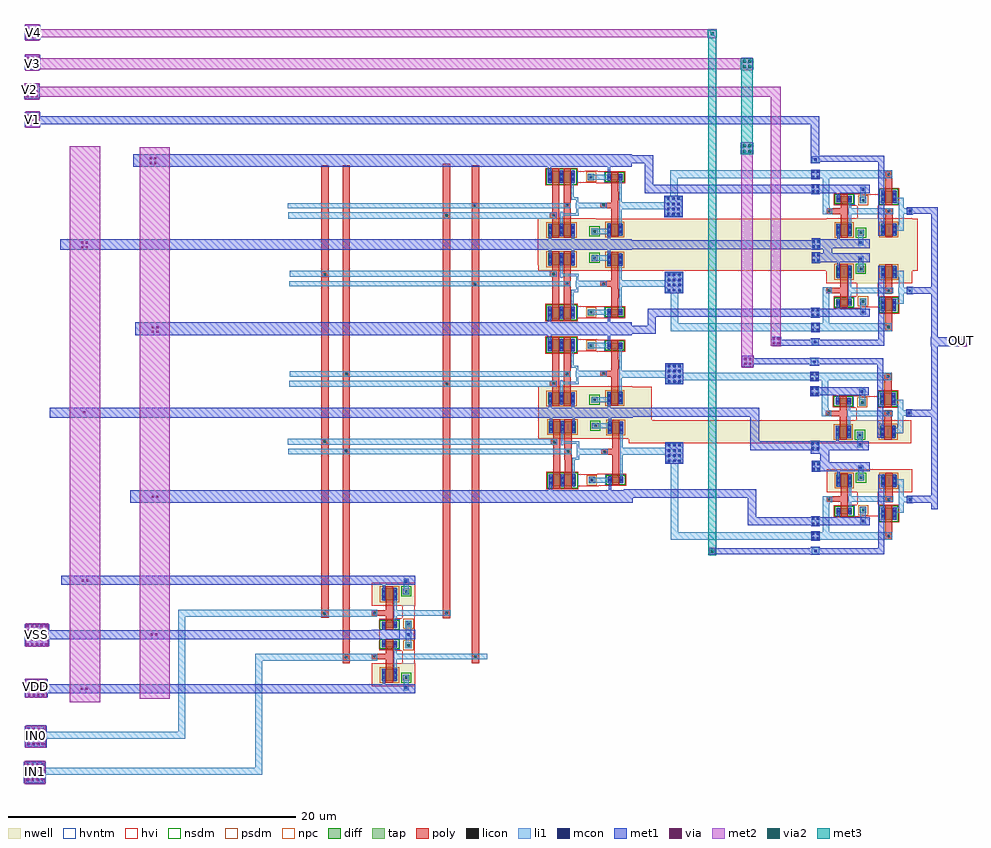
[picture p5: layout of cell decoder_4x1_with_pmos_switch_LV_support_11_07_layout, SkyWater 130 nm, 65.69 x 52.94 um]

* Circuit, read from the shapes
.subckt decoder_4x1_with_pmos_switch_LV_support_11_07_layout IN0 IN1 OUT V1 V2 V3 V4 VDD VSS
XM1 decoder_D1_g5d10_10_07_0/IN1_inv IN1 VSS VSS sky130_fd_pr__nfet_g5v0d10v5 w=0.42 l=0.5
XM2 decoder_D1_g5d10_10_07_0/IN0_inv IN0 VSS VSS sky130_fd_pr__nfet_g5v0d10v5 w=0.42 l=0.5
XM3 n1 decoder_D1_g5d10_10_07_0/IN0_inv VSS VSS sky130_fd_pr__nfet_g5v0d10v5 w=0.84 l=0.5
XM4 n2 IN0 VSS VSS sky130_fd_pr__nfet_g5v0d10v5 w=0.84 l=0.5
XM5 n3 decoder_D1_g5d10_10_07_0/IN0_inv VSS VSS sky130_fd_pr__nfet_g5v0d10v5 w=0.84 l=0.5
XM6 n4 IN0 VSS VSS sky130_fd_pr__nfet_g5v0d10v5 w=0.84 l=0.5
XM7 n5 IN1 n1 VSS sky130_fd_pr__nfet_g5v0d10v5 w=0.84 l=0.5
XM8 n6 decoder_D1_g5d10_10_07_0/IN1_inv n2 VSS sky130_fd_pr__nfet_g5v0d10v5 w=0.84 l=0.5
XM9 n7 decoder_D1_g5d10_10_07_0/IN1_inv n3 VSS sky130_fd_pr__nfet_g5v0d10v5 w=0.84 l=0.5
XM10 n8 IN1 n4 VSS sky130_fd_pr__nfet_g5v0d10v5 w=0.84 l=0.5
XM11 decoder_D1_g5d10_10_07_0/OUT2 n5 VSS VSS sky130_fd_pr__nfet_g5v0d10v5 w=0.42 l=0.5
XM12 decoder_D1_g5d10_10_07_0/OUT1 n6 VSS VSS sky130_fd_pr__nfet_g5v0d10v5 w=0.42 l=0.5
XM13 decoder_D1_g5d10_10_07_0/OUT0 n7 VSS VSS sky130_fd_pr__nfet_g5v0d10v5 w=0.42 l=0.5
XM14 decoder_D1_g5d10_10_07_0/OUT3 n8 VSS VSS sky130_fd_pr__nfet_g5v0d10v5 w=0.42 l=0.5
XM15 V_SEL_g5D10_W0p840_L0p5_11_7_layout_2/inv_D1_W0p840_L0p5_10_7_2/OUT decoder_D1_g5d10_10_07_0/OUT2 VSS VSS sky130_fd_pr__nfet_g5v0d10v5 w=0.42 l=0.5
XM16 V_SEL_g5D10_W0p840_L0p5_11_7_layout_3/inv_D1_W0p840_L0p5_10_7_2/OUT decoder_D1_g5d10_10_07_0/OUT1 VSS VSS sky130_fd_pr__nfet_g5v0d10v5 w=0.42 l=0.5
XM17 V_SEL_g5D10_W0p840_L0p5_11_7_layout_1/inv_D1_W0p840_L0p5_10_7_2/OUT decoder_D1_g5d10_10_07_0/OUT3 VSS VSS sky130_fd_pr__nfet_g5v0d10v5 w=0.42 l=0.5
XM18 V_SEL_g5D10_W0p840_L0p5_11_7_layout_4/inv_D1_W0p840_L0p5_10_7_2/OUT decoder_D1_g5d10_10_07_0/OUT0 VSS VSS sky130_fd_pr__nfet_g5v0d10v5 w=0.42 l=0.5
XM19 OUT decoder_D1_g5d10_10_07_0/OUT2 V3 VSS sky130_fd_pr__nfet_g5v0d10v5 w=0.84 l=0.5
XM20 OUT decoder_D1_g5d10_10_07_0/OUT1 V2 VSS sky130_fd_pr__nfet_g5v0d10v5 w=0.84 l=0.5
XM21 OUT decoder_D1_g5d10_10_07_0/OUT3 V4 VSS sky130_fd_pr__nfet_g5v0d10v5 w=0.84 l=0.5
XM22 OUT decoder_D1_g5d10_10_07_0/OUT0 V1 VSS sky130_fd_pr__nfet_g5v0d10v5 w=0.84 l=0.5
XM23 decoder_D1_g5d10_10_07_0/IN1_inv IN1 VDD VDD sky130_fd_pr__pfet_g5v0d10v5 w=0.84 l=0.5
XM24 decoder_D1_g5d10_10_07_0/IN0_inv IN0 VDD VDD sky130_fd_pr__pfet_g5v0d10v5 w=0.84 l=0.5
XM25 n5 decoder_D1_g5d10_10_07_0/IN0_inv VDD VDD sky130_fd_pr__pfet_g5v0d10v5 w=0.84 l=0.5
XM26 n6 IN0 VDD VDD sky130_fd_pr__pfet_g5v0d10v5 w=0.84 l=0.5
XM27 n7 decoder_D1_g5d10_10_07_0/IN0_inv VDD VDD sky130_fd_pr__pfet_g5v0d10v5 w=0.84 l=0.5
XM28 n8 IN0 VDD VDD sky130_fd_pr__pfet_g5v0d10v5 w=0.84 l=0.5
XM29 VDD IN1 n5 VDD sky130_fd_pr__pfet_g5v0d10v5 w=0.84 l=0.5
XM30 VDD decoder_D1_g5d10_10_07_0/IN1_inv n6 VDD sky130_fd_pr__pfet_g5v0d10v5 w=0.84 l=0.5
XM31 VDD decoder_D1_g5d10_10_07_0/IN1_inv n7 VDD sky130_fd_pr__pfet_g5v0d10v5 w=0.84 l=0.5
XM32 VDD IN1 n8 VDD sky130_fd_pr__pfet_g5v0d10v5 w=0.84 l=0.5
XM33 decoder_D1_g5d10_10_07_0/OUT2 n5 VDD VDD sky130_fd_pr__pfet_g5v0d10v5 w=0.84 l=0.5
XM34 decoder_D1_g5d10_10_07_0/OUT1 n6 VDD VDD sky130_fd_pr__pfet_g5v0d10v5 w=0.84 l=0.5
XM35 decoder_D1_g5d10_10_07_0/OUT0 n7 VDD VDD sky130_fd_pr__pfet_g5v0d10v5 w=0.84 l=0.5
XM36 decoder_D1_g5d10_10_07_0/OUT3 n8 VDD VDD sky130_fd_pr__pfet_g5v0d10v5 w=0.84 l=0.5
XM37 V_SEL_g5D10_W0p840_L0p5_11_7_layout_2/inv_D1_W0p840_L0p5_10_7_2/OUT decoder_D1_g5d10_10_07_0/OUT2 VDD VDD sky130_fd_pr__pfet_g5v0d10v5 w=0.84 l=0.5
XM38 V_SEL_g5D10_W0p840_L0p5_11_7_layout_3/inv_D1_W0p840_L0p5_10_7_2/OUT decoder_D1_g5d10_10_07_0/OUT1 VDD VDD sky130_fd_pr__pfet_g5v0d10v5 w=0.84 l=0.5
XM39 V_SEL_g5D10_W0p840_L0p5_11_7_layout_1/inv_D1_W0p840_L0p5_10_7_2/OUT decoder_D1_g5d10_10_07_0/OUT3 VDD VDD sky130_fd_pr__pfet_g5v0d10v5 w=0.84 l=0.5
XM40 V_SEL_g5D10_W0p840_L0p5_11_7_layout_4/inv_D1_W0p840_L0p5_10_7_2/OUT decoder_D1_g5d10_10_07_0/OUT0 VDD VDD sky130_fd_pr__pfet_g5v0d10v5 w=0.84 l=0.5
XM41 OUT V_SEL_g5D10_W0p840_L0p5_11_7_layout_2/inv_D1_W0p840_L0p5_10_7_2/OUT V3 VDD sky130_fd_pr__pfet_g5v0d10v5 w=0.84 l=0.5
XM42 OUT V_SEL_g5D10_W0p840_L0p5_11_7_layout_3/inv_D1_W0p840_L0p5_10_7_2/OUT V2 VDD sky130_fd_pr__pfet_g5v0d10v5 w=0.84 l=0.5
XM43 OUT V_SEL_g5D10_W0p840_L0p5_11_7_layout_1/inv_D1_W0p840_L0p5_10_7_2/OUT V4 VDD sky130_fd_pr__pfet_g5v0d10v5 w=0.84 l=0.5
XM44 OUT V_SEL_g5D10_W0p840_L0p5_11_7_layout_4/inv_D1_W0p840_L0p5_10_7_2/OUT V1 VDD sky130_fd_pr__pfet_g5v0d10v5 w=0.84 l=0.5
.ends

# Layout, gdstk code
import gdstk
lib = gdstk.Library(unit=1e-6, precision=1e-09)
def R(c, l, rs):  # rectangles x0, y0, x1, y1
    for r in rs: c.add(gdstk.rectangle(r[:2], r[2:], *l))
def A(c, l, x, y, w, h, nx, ny, dx, dy):  # array of equal rectangles
    R(c, l, [(x+i*dx, y+j*dy, x+i*dx+w, y+j*dy+h) for i in range(nx) for j in range(ny)])
nwell = (64, 20)
diff = (65, 20)
tap = (65, 44)
poly = (66, 20)
licon = (66, 44)
li1 = (67, 20)
mcon = (67, 44)
met1 = (68, 20)
via = (68, 44)
met2 = (69, 20)
via2 = (69, 44)
met3 = (70, 20)
hvi = (75, 20)
nsdm = (93, 44)
psdm = (94, 20)
npc = (95, 20)
hvntm = (125, 20)

sky130_fd_pr__pfet_g5v0d = lib.new_cell('sky130_fd_pr__pfet_g5v0d10v5_CG94UW')
R(sky130_fd_pr__pfet_g5v0d, nwell, [(-0.72,-0.73,0.72,0.73)])
R(sky130_fd_pr__pfet_g5v0d, diff, [(-0.54,-0.42,0.54,0.42)])
R(sky130_fd_pr__pfet_g5v0d, poly, [(-0.25,-0.55,0.25,0.55)])
R(sky130_fd_pr__pfet_g5v0d, licon, [(-0.48,-0.255,-0.31,-0.085), (0.31,-0.255,0.48,-0.085), (-0.48,0.085,-0.31,0.255), (0.31,0.085,0.48,0.255)])
R(sky130_fd_pr__pfet_g5v0d, li1, [(-0.48,-0.44,-0.31,0.44), (0.31,-0.44,0.48,0.44)])
R(sky130_fd_pr__pfet_g5v0d, mcon, [(-0.48,-0.265,-0.31,-0.095), (0.31,-0.265,0.48,-0.095), (-0.48,0.095,-0.31,0.265), (0.31,0.095,0.48,0.265)])
R(sky130_fd_pr__pfet_g5v0d, met1, [(-0.51,-0.42,-0.28,0.42), (0.28,-0.42,0.51,0.42)])
R(sky130_fd_pr__pfet_g5v0d, hvi, [(-0.72,-0.73,0.72,-0.605), (-0.725,-0.605,0.725,0.605), (-0.72,0.605,0.72,0.73)])
R(sky130_fd_pr__pfet_g5v0d, psdm, [(-0.665,-0.545,0.665,0.545)])

sky130_fd_pr__nfet_g5v0d = lib.new_cell('sky130_fd_pr__nfet_g5v0d10v5_A3ZYGX')
R(sky130_fd_pr__nfet_g5v0d, diff, [(-0.54,-0.21,0.54,0.21)])
R(sky130_fd_pr__nfet_g5v0d, poly, [(-0.25,-0.34,0.25,0.34)])
R(sky130_fd_pr__nfet_g5v0d, licon, [(-0.48,-0.085,-0.31,0.085), (0.31,-0.085,0.48,0.085)])
R(sky130_fd_pr__nfet_g5v0d, li1, [(-0.48,-0.23,-0.31,0.23), (0.31,-0.23,0.48,0.23)])
R(sky130_fd_pr__nfet_g5v0d, mcon, [(-0.48,-0.085,-0.31,0.085), (0.31,-0.085,0.48,0.085)])
R(sky130_fd_pr__nfet_g5v0d, met1, [(-0.51,-0.21,-0.28,0.21), (0.28,-0.21,0.51,0.21)])
R(sky130_fd_pr__nfet_g5v0d, hvi, [(-0.725,-0.42,0.725,0.42)])
R(sky130_fd_pr__nfet_g5v0d, nsdm, [(-0.665,-0.335,0.665,0.335)])
R(sky130_fd_pr__nfet_g5v0d, hvntm, [(-0.725,-0.395,0.725,0.395)])

mv_5v_pmostap_substrate = lib.new_cell('MV_5V_pmosTap_substrate')
R(mv_5v_pmostap_substrate, tap, [(-0.35,0,0.12,0.44)])
R(mv_5v_pmostap_substrate, licon, [(-0.195,0.13,-0.025,0.3)])
R(mv_5v_pmostap_substrate, li1, [(-0.31,0.04,0.07,0.4)])
R(mv_5v_pmostap_substrate, hvi, [(-0.535,-0.2,0.305,0.64)])
R(mv_5v_pmostap_substrate, nsdm, [(-0.475,-0.125,0.245,0.565)])

mv_5v_nmostap_substrate_ = lib.new_cell('MV_5V_nmosTap_substrate_Pwell')
R(mv_5v_nmostap_substrate_, tap, [(-0.48,-0.08,-0.03,0.37)])
R(mv_5v_nmostap_substrate_, licon, [(-0.335,0.065,-0.165,0.235)])
R(mv_5v_nmostap_substrate_, li1, [(-0.44,-0.03,-0.06,0.34)])
R(mv_5v_nmostap_substrate_, hvi, [(-0.675,-0.275,0.165,0.565)])
R(mv_5v_nmostap_substrate_, psdm, [(-0.605,-0.205,0.095,0.495)])

inv_d1_w0p840_l0p5_10_7 = lib.new_cell('inv_D1_W0p840_L0p5_10_7')
R(inv_d1_w0p840_l0p5_10_7, nwell, [(-0.5,-0.08,2.51,1.52)])
R(inv_d1_w0p840_l0p5_10_7, poly, [(0.47,-1.14,0.97,-0.76), (-0.5,-0.76,0.98,-0.37), (0.47,-0.37,0.97,0.27)])
R(inv_d1_w0p840_l0p5_10_7, licon, [(-0.4,-0.655,-0.23,-0.485)])
R(inv_d1_w0p840_l0p5_10_7, li1, [(1.84,-2.28,2.24,-1.15), (1.03,-1.57,1.19,-1.42), (1.03,-1.42,1.21,-0.76), (1,-0.76,2.48,-0.37), (-0.51,-0.75,-0.13,-0.35), (1.03,-0.37,1.21,1.04), (1.7,0.73,2.06,1.81)])
R(inv_d1_w0p840_l0p5_10_7, mcon, [(1.95,-2.165,2.12,-1.995), (1.785,1.525,1.955,1.695)])
R(inv_d1_w0p840_l0p5_10_7, met1, [(-0.52,-2.4,2.5,-1.83), (0.22,-1.83,0.41,-1.19), (0.24,0.39,0.41,1.38), (-0.5,1.38,2.51,2.01)])
R(inv_d1_w0p840_l0p5_10_7, hvi, [(1.445,-1.8,1.96,-1.755), (1.445,-1.755,1.625,-0.99), (1.12,-0.99,1.625,-0.96), (1.625,-0.915,2.465,-0.08), (-0.5,-0.08,2.51,0), (-0.5,0,0,0.125), (1.44,0,2.51,0.125), (-0.5,0.125,-0.005,1.335), (1.445,0.125,2.51,0.51), (1.445,0.51,1.465,1.335), (2.305,0.51,2.51,1.35), (-0.5,1.335,0,1.46), (1.44,1.335,1.465,1.35), (1.44,1.35,2.51,1.46), (-0.5,1.46,2.51,1.52)])
R(inv_d1_w0p840_l0p5_10_7, npc, [(-0.5,-0.755,-0.13,-0.385)])
inv_d1_w0p840_l0p5_10_7.add(gdstk.Reference(sky130_fd_pr__pfet_g5v0d, (0.72,0.73)))
inv_d1_w0p840_l0p5_10_7.add(gdstk.Reference(sky130_fd_pr__nfet_g5v0d, (0.72,-1.41)))
inv_d1_w0p840_l0p5_10_7.add(gdstk.Reference(mv_5v_pmostap_substrate, (2,0.71)))
inv_d1_w0p840_l0p5_10_7.add(gdstk.Reference(mv_5v_nmostap_substrate_, (2.3,-1.48)))
inv_d1_w0p840_l0p5_10_7.add(gdstk.Label('IN', (-0.36,-0.56), layer=67, texttype=16))
inv_d1_w0p840_l0p5_10_7.add(gdstk.Label('VDD', (0.88,1.77), layer=68, texttype=16))
inv_d1_w0p840_l0p5_10_7.add(gdstk.Label('OUT', (2.32,-0.57), layer=67, texttype=16))
inv_d1_w0p840_l0p5_10_7.add(gdstk.Label('VSS', (0.88,-2.11), layer=68, texttype=16))

c_sky130_fd_pr__nfet_g5v0d = lib.new_cell('sky130_fd_pr__nfet_g5v0d10v5_VJVYG6')
R(c_sky130_fd_pr__nfet_g5v0d, diff, [(-0.54,-0.42,0.54,0.42)])
R(c_sky130_fd_pr__nfet_g5v0d, poly, [(-0.25,-0.55,0.25,0.55)])
R(c_sky130_fd_pr__nfet_g5v0d, licon, [(-0.48,-0.255,-0.31,-0.085), (0.31,-0.255,0.48,-0.085), (-0.48,0.085,-0.31,0.255), (0.31,0.085,0.48,0.255)])
R(c_sky130_fd_pr__nfet_g5v0d, li1, [(-0.48,-0.44,-0.31,0.44), (0.31,-0.44,0.48,0.44)])
R(c_sky130_fd_pr__nfet_g5v0d, mcon, [(-0.48,-0.265,-0.31,-0.095), (0.31,-0.265,0.48,-0.095), (-0.48,0.095,-0.31,0.265), (0.31,0.095,0.48,0.265)])
R(c_sky130_fd_pr__nfet_g5v0d, met1, [(-0.51,-0.42,-0.28,0.42), (0.28,-0.42,0.51,0.42)])
R(c_sky130_fd_pr__nfet_g5v0d, hvi, [(-0.725,-0.605,0.725,0.605)])
R(c_sky130_fd_pr__nfet_g5v0d, nsdm, [(-0.665,-0.545,0.665,0.545)])
R(c_sky130_fd_pr__nfet_g5v0d, hvntm, [(-0.725,-0.605,0.725,0.605)])

and_d1_w0p840_l0p5_10_7 = lib.new_cell('and_D1_W0p840_L0p5_10_7')
R(and_d1_w0p840_l0p5_10_7, nwell, [(-0.51,-0.08,3.5,-0.07), (-0.51,-0.07,6,1.51)])
R(and_d1_w0p840_l0p5_10_7, poly, [(4.58,-2.68,5.08,-1.95), (1.27,-2.535,1.76,-1.56), (0.47,-2.5,0.97,-0.5), (4.58,-1.95,5.09,-1.34), (1.26,-1.56,1.76,0.25), (4.58,-1.34,5.08,-1.18), (3.82,-1.18,5.08,-0.77), (4.58,-0.77,5.08,0.22), (0.31,-0.5,0.97,-0.07), (0.47,-0.07,0.97,0.27)])
R(and_d1_w0p840_l0p5_10_7, licon, [(3.96,-1.085,4.13,-0.915), (1.42,-1.06,1.59,-0.89), (0.465,-0.385,0.635,-0.215)])
R(and_d1_w0p840_l0p5_10_7, li1, [(1.805,-3.395,1.975,-1.56), (2.99,-3.13,4.52,-2.78), (5.14,-3.105,5.31,-1.2), (1.8,-1.56,2.295,-1.39), (2.125,-1.39,2.295,-1.18), (5.13,-1.2,6,-0.72), (2.12,-1.18,4.28,-0.78), (-0.5,-1.15,1.76,-0.79), (2.125,-0.78,2.295,-0.435), (5.14,-0.72,5.31,1.12), (1.02,-0.54,1.19,-0.435), (-0.51,-0.5,0.77,-0.07), (1.02,-0.435,2.305,-0.265), (1.02,-0.265,1.19,1.16), (3.21,0.64,4.52,1.01)])
R(and_d1_w0p840_l0p5_10_7, met1, [(-0.5,-4.54,6.015,-3.67), (0.16,-3.67,0.41,-2.55), (4.34,-3.67,4.51,-2.71), (4.34,0.26,4.51,1.38), (1.82,0.32,1.99,1.38), (0.24,0.37,0.41,1.38), (-0.505,1.38,6.005,2.01)])
R(and_d1_w0p840_l0p5_10_7, hvi, [(2.235,-3.375,2.755,-2.555), (3.595,-3.37,4.105,-2.545), (3.585,-2.545,4.105,-2.53), (-0.51,-0.08,3.5,-0.07), (-0.51,-0.07,6,-0.03), (-0.51,-0.03,4.11,0), (5.55,-0.03,6,0.095), (-0.51,0,0,0.125), (2.23,0,4.11,0.095), (2.23,0.095,4.105,0.125), (5.555,0.095,6,1.305), (-0.51,0.125,-0.005,1.335), (2.235,0.125,4.105,0.41), (2.235,0.41,2.985,1.25), (3.825,0.41,4.105,1.25), (2.235,1.25,4.105,1.305), (2.235,1.305,4.11,1.335), (5.55,1.305,6,1.43), (-0.51,1.335,0,1.46), (2.23,1.335,4.11,1.43), (2.23,1.43,6,1.46), (-0.51,1.46,6,1.51)])
R(and_d1_w0p840_l0p5_10_7, npc, [(3.86,-1.185,4.23,-0.815), (1.32,-1.16,1.69,-0.79), (0.365,-0.485,0.735,-0.115)])
and_d1_w0p840_l0p5_10_7.add(gdstk.Reference(sky130_fd_pr__pfet_g5v0d, (4.83,0.7)))
and_d1_w0p840_l0p5_10_7.add(gdstk.Reference(sky130_fd_pr__pfet_g5v0d, (1.51,0.73)))
and_d1_w0p840_l0p5_10_7.add(gdstk.Reference(sky130_fd_pr__pfet_g5v0d, (0.72,0.73)))
and_d1_w0p840_l0p5_10_7.add(gdstk.Reference(c_sky130_fd_pr__nfet_g5v0d, (1.51,-2.98)))
and_d1_w0p840_l0p5_10_7.add(gdstk.Reference(c_sky130_fd_pr__nfet_g5v0d, (0.72,-2.98)))
and_d1_w0p840_l0p5_10_7.add(gdstk.Reference(sky130_fd_pr__nfet_g5v0d, (4.83,-2.95)))
and_d1_w0p840_l0p5_10_7.add(gdstk.Reference(mv_5v_pmostap_substrate, (3.52,0.61)))
and_d1_w0p840_l0p5_10_7.add(gdstk.Reference(mv_5v_nmostap_substrate_, (3.43,-3.11)))
and_d1_w0p840_l0p5_10_7.add(gdstk.Label('IN0', (-0.35,-0.29), layer=67, texttype=16))
and_d1_w0p840_l0p5_10_7.add(gdstk.Label('IN1', (-0.37,-0.99), layer=67, texttype=16))
and_d1_w0p840_l0p5_10_7.add(gdstk.Label('VDD', (1.42,1.74), layer=68, texttype=16))
and_d1_w0p840_l0p5_10_7.add(gdstk.Label('VSS', (1.46,-4.23), layer=68, texttype=16))
and_d1_w0p840_l0p5_10_7.add(gdstk.Label('OUT', (5.75,-0.97), layer=67, texttype=16))

decoder_d1_g5d10_10_07 = lib.new_cell('decoder_D1_g5d10_10_07')
R(decoder_d1_g5d10_10_07, nwell, [(11.6,14.01,18.15,17.6), (11.58,26.07,18.14,29.3)])
R(decoder_d1_g5d10_10_07, poly, [(-2.03,-1.68,-1.52,33.005), (6.96,-1.67,7.49,33.015), (4.96,1.46,5.47,33.115), (-3.52,1.5,-2.99,29.07), (-3.53,29.07,-2.99,29.91), (-3.52,29.91,-2.99,33.015)])
R(decoder_d1_g5d10_10_07, licon, [(-1.865,-1.345,-1.695,-1.175), (7.145,-1.285,7.315,-1.115), (-3.365,1.705,-3.195,1.875), (5.125,1.735,5.295,1.905), (-1.87,13.01,-1.7,13.18), (-3.36,13.67,-3.19,13.84), (5.145,17.685,5.315,17.855), (-1.835,18.395,-1.665,18.565), (7.125,24.665,7.295,24.835), (-3.355,25.325,-3.185,25.495), (5.135,29.415,5.305,29.585), (7.095,30.115,7.265,30.285)])
R(decoder_d1_g5d10_10_07, li1, [(-24.1,-9.99,-22.76,-9.445), (-24.1,-9.445,-7.615,-8.955), (-24.1,-8.955,-22.76,-8.57), (-8.105,-8.955,-7.615,-1.5), (-24.04,-7.49,-22.7,-6.945), (-24.04,-6.945,-12.995,-6.455), (-24.04,-6.455,-22.7,-6.07), (-13.485,-6.455,-12.995,1.56), (-8.125,-1.5,0.38,-1.01), (2.6,-1.4,8.055,-1.01), (-13.485,1.56,0.37,2.05), (2.475,1.64,5.515,2.03), (20.47,12.28,21.69,12.84), (17.62,12.84,21.69,13.32), (-5.81,12.89,12.14,13.25), (20.47,13.32,21.69,13.65), (-5.845,13.54,12.09,13.97), (-5.755,17.57,12.03,18), (20.47,17.8,21.69,18.22), (17.63,18.22,21.69,18.7), (-5.72,18.29,11.97,18.65), (20.47,18.7,21.69,19.17), (20.46,24.16,21.68,24.53), (17.54,24.53,21.68,25.01), (-5.74,24.58,12.14,24.94), (20.46,25.01,21.68,25.53), (-5.705,25.23,12.03,25.66), (-5.825,29.3,12.285,29.73), (20.41,29.46,21.63,29.95), (17.39,29.95,21.63,30.43), (-5.85,30.02,11.97,30.38), (20.41,30.43,21.63,30.83)])
A(decoder_d1_g5d10_10_07, mcon, -24.055, -9.905, 0.17, 0.17, 4, 4, 0.36, 0.36)
A(decoder_d1_g5d10_10_07, mcon, -23.995, -7.405, 0.17, 0.17, 4, 4, 0.36, 0.36)
A(decoder_d1_g5d10_10_07, mcon, 20.635, 12.34, 0.17, 0.17, 3, 4, 0.36, 0.36)
A(decoder_d1_g5d10_10_07, mcon, 20.635, 17.86, 0.17, 0.17, 3, 4, 0.36, 0.36)
A(decoder_d1_g5d10_10_07, mcon, 20.625, 24.22, 0.17, 0.17, 3, 4, 0.36, 0.36)
A(decoder_d1_g5d10_10_07, mcon, 20.575, 29.52, 0.17, 0.17, 3, 4, 0.36, 0.36)
R(decoder_d1_g5d10_10_07, met1, [(-24.13,-10.05,-22.73,-8.51), (-24.07,-7.55,-22.67,-6.01), (-24,-4.03,-22.99,-3.78), (-24,-3.78,1.475,-3.15), (-24,-3.15,-22.99,-2.98), (-24.02,-0.46,-22.54,0), (-24.02,0,0.645,0.63), (-24.02,0.63,-22.54,1.02), (-21.625,3.78,1.315,4.41), (-16.805,9.5,13.355,10.37), (20.44,12.22,21.72,13.71), (-22.43,15.42,12.61,16.12), (20.44,17.74,21.72,19.23), (-16.455,21.17,12.5,22.06), (20.43,24.1,21.71,25.59), (-21.69,27.11,12.39,27.85), (20.38,29.4,21.66,30.89), (-16.595,32.9,14.435,33.77)])
R(decoder_d1_g5d10_10_07, via, [(-20.265,-3.525,-20.115,-3.375), (-19.945,-3.525,-19.795,-3.375), (-15.405,0.245,-15.255,0.395), (-15.085,0.245,-14.935,0.395), (-20.205,4.015,-20.055,4.165), (-19.885,4.015,-19.735,4.165), (-15.325,9.855,-15.175,10.005), (-15.005,9.855,-14.855,10.005), (-20.115,15.725,-19.965,15.875), (-15.315,21.335,-15.165,21.485), (-14.995,21.335,-14.845,21.485), (-15.315,21.655,-15.165,21.805), (-14.995,21.655,-14.845,21.805), (-20.235,27.235,-20.085,27.385), (-19.915,27.235,-19.765,27.385), (-20.235,27.555,-20.085,27.705), (-19.915,27.555,-19.765,27.705), (-15.475,33.095,-15.325,33.245), (-15.155,33.095,-15.005,33.245), (-15.475,33.415,-15.325,33.565), (-15.155,33.415,-15.005,33.565)])
R(decoder_d1_g5d10_10_07, met2, [(-21.02,-4.38,-18.92,34.35), (-16.17,-4.15,-14.07,34.26)])
R(decoder_d1_g5d10_10_07, hvi, [(2.48,-0.015,2.975,0.04), (1.965,0.04,2.975,0.045), (0.515,0.045,2.975,0.595), (1.965,0.595,2.975,0.6), (2.48,0.6,2.975,0.655), (11.6,14.01,11.66,15.55), (11.6,15.55,18.15,15.99), (18.11,15.99,18.15,17.57), (15.61,17.57,18.15,17.58), (11.6,17.58,18.15,17.6), (11.58,26.07,11.6,27.24), (18.11,26.07,18.14,27.24), (11.58,27.24,18.14,27.72), (11.58,27.72,11.6,29.3), (18.11,27.72,18.14,29.3)])
R(decoder_d1_g5d10_10_07, npc, [(-1.965,-1.445,-1.595,-1.075), (7.045,-1.385,7.415,-1.015), (-3.465,1.605,-3.095,1.975), (5.025,1.635,5.395,2.005), (-1.97,12.91,-1.6,13.28), (-3.46,13.57,-3.09,13.94), (5.045,17.585,5.415,17.955), (-1.935,18.295,-1.565,18.665), (7.025,24.565,7.395,24.935), (-3.455,25.225,-3.085,25.595), (5.035,29.315,5.405,29.685), (6.995,30.015,7.365,30.385)])
R(decoder_d1_g5d10_10_07, hvntm, [(0.515,0.045,1.965,0.595)])
decoder_d1_g5d10_10_07.add(gdstk.Reference(inv_d1_w0p840_l0p5_10_7, (0.52,-1.76), x_reflection=True))
decoder_d1_g5d10_10_07.add(gdstk.Reference(inv_d1_w0p840_l0p5_10_7, (0.52,2.4)))
decoder_d1_g5d10_10_07.add(gdstk.Reference(and_d1_w0p840_l0p5_10_7, (12.11,29.23), x_reflection=True))
decoder_d1_g5d10_10_07.add(gdstk.Reference(and_d1_w0p840_l0p5_10_7, (12.11,25.73)))
decoder_d1_g5d10_10_07.add(gdstk.Reference(and_d1_w0p840_l0p5_10_7, (12.11,17.5), x_reflection=True))
decoder_d1_g5d10_10_07.add(gdstk.Reference(and_d1_w0p840_l0p5_10_7, (12.17,14.04)))
decoder_d1_g5d10_10_07.add(gdstk.Label('IN0_inv', (4.29,1.88), layer=67, texttype=5))
decoder_d1_g5d10_10_07.add(gdstk.Label('IN1_inv', (5.15,-1.15), layer=67, texttype=5))
decoder_d1_g5d10_10_07.add(gdstk.Label('OUT0', (21.19,30.22), layer=68, texttype=16))
decoder_d1_g5d10_10_07.add(gdstk.Label('OUT1', (21.16,24.82), layer=68, texttype=16))
decoder_d1_g5d10_10_07.add(gdstk.Label('OUT2', (21.15,18.41), layer=68, texttype=16))
decoder_d1_g5d10_10_07.add(gdstk.Label('OUT3', (21.03,13.07), layer=68, texttype=16))
decoder_d1_g5d10_10_07.add(gdstk.Label('VDD', (-23.54,-3.47), layer=68, texttype=16))
decoder_d1_g5d10_10_07.add(gdstk.Label('VSS', (-23.45,0.19), layer=68, texttype=16))
decoder_d1_g5d10_10_07.add(gdstk.Label('IN0', (-23.48,-6.65), layer=68, texttype=16))
decoder_d1_g5d10_10_07.add(gdstk.Label('IN1', (-23.5,-9.32), layer=68, texttype=16))

v_sel_g5d10_w0p840_l0p5_ = lib.new_cell('V_SEL_g5D10_W0p840_L0p5_11_7_layout')
R(v_sel_g5d10_w0p840_l0p5_, nwell, [(1.43,2.32,5.99,3.92)])
R(v_sel_g5d10_w0p840_l0p5_, poly, [(4.1,-1,4.6,0.34), (4.11,1.61,4.61,2.74)])
R(v_sel_g5d10_w0p840_l0p5_, licon, [(4.265,-0.815,4.435,-0.645), (4.275,1.725,4.445,1.895)])
R(v_sel_g5d10_w0p840_l0p5_, li1, [(-1.02,-2,-0.51,-1.53), (-1.02,-1.01,4.58,-0.47), (-0.25,-0.47,0.2,1.46), (-1.03,0,-0.48,0.58), (4.66,0.89,5.41,1.26), (5.04,1.26,5.41,1.62), (-0.25,1.46,0.23,1.63), (5.64,1.61,6,1.62), (5.03,1.62,6,2.01), (-0.25,1.63,0.4,1.69), (2.455,1.64,4.675,2.03), (-0.25,1.69,0.2,2.05), (0.21,1.69,0.4,2.05), (5.04,2.01,5.41,2.835), (4.675,2.835,5.41,3.205), (-0.99,3.79,-0.44,4.44)])
R(v_sel_g5d10_w0p840_l0p5_, mcon, [(-0.85,-1.85,-0.68,-1.68), (-1.02,-1.005,-0.85,-0.835), (-0.66,-1.005,-0.49,-0.835), (-1.02,-0.645,-0.85,-0.475), (-0.66,-0.645,-0.49,-0.475), (-1.02,0.025,-0.85,0.195), (-0.66,0.025,-0.49,0.195), (-1.02,0.385,-0.85,0.555), (-0.66,0.385,-0.49,0.555), (5.735,1.725,5.905,1.895), (-0.98,3.85,-0.81,4.02), (-0.62,3.85,-0.45,4.02), (-0.98,4.21,-0.81,4.38), (-0.62,4.21,-0.45,4.38)])
R(v_sel_g5d10_w0p840_l0p5_, met1, [(-1.08,-2.03,-0.45,-2.02), (-1.08,-2.02,4.04,-1.6), (-1.08,-1.6,-0.45,-1.5), (3.62,-1.6,4.04,3.54), (-1.05,-1.07,-0.46,-0.41), (-1.06,-0.06,-0.45,0), (-1.06,0,0.57,0.57), (-1.06,0.57,-0.45,0.64), (5.61,1.55,6.03,2.07), (-1.02,3.73,-0.41,3.78), (-1.02,3.78,0.715,4.41), (2.49,3.87,2.79,4.41), (-1.02,4.41,-0.41,4.5)])
R(v_sel_g5d10_w0p840_l0p5_, hvi, [(2.975,0.655,3.625,0.945), (2.985,0.945,3.625,2.32), (3.03,2.32,5.99,2.38), (3.03,2.38,3.64,2.505), (5.08,2.38,5.99,2.505), (3.03,2.505,3.635,3.715), (5.085,2.505,5.99,3.715), (3.03,3.715,3.64,3.84), (5.08,3.715,5.99,3.84), (3.03,3.84,5.99,3.92)])
R(v_sel_g5d10_w0p840_l0p5_, npc, [(4.165,-0.915,4.535,-0.545), (4.175,1.625,4.545,1.995)])
v_sel_g5d10_w0p840_l0p5_.add(gdstk.Reference(sky130_fd_pr__pfet_g5v0d, (4.36,3.11)))
v_sel_g5d10_w0p840_l0p5_.add(gdstk.Reference(c_sky130_fd_pr__nfet_g5v0d, (4.35,0.82)))
v_sel_g5d10_w0p840_l0p5_.add(gdstk.Reference(inv_d1_w0p840_l0p5_10_7, (0.52,2.4)))
v_sel_g5d10_w0p840_l0p5_.add(gdstk.Label('VIN', (-0.74,-1.76), layer=68, texttype=16))
v_sel_g5d10_w0p840_l0p5_.add(gdstk.Label('SEL', (-0.78,-0.73), layer=68, texttype=16))
v_sel_g5d10_w0p840_l0p5_.add(gdstk.Label('VSS', (-0.76,0.28), layer=68, texttype=16))
v_sel_g5d10_w0p840_l0p5_.add(gdstk.Label('VDD', (-0.71,4.11), layer=68, texttype=16))
v_sel_g5d10_w0p840_l0p5_.add(gdstk.Label('VOUT', (5.8,1.81), layer=68, texttype=16))

decoder_4x1_with_pmos_sw = lib.new_cell('decoder_4x1_with_pmos_switch_LV_support_11_07_layout')
R(decoder_4x1_with_pmos_sw, nwell, [(42.05,23.69,57.36,25.29), (42.05,25.29,43.65,27.63), (38.6,35.71,62.18,39.35)])
R(decoder_4x1_with_pmos_sw, li1, [(44.96,16.96,56.17,17.5), (44.96,17.5,45.5,22.99), (45.34,28.08,56.47,28.62), (44.96,31.5,56.48,32.04), (44.96,32.04,45.5,34.91), (44.76,34.34,44.8,35.09), (45.34,39.8,45.4,40.36), (44.92,40.36,45.46,42.16), (44.92,42.16,57,42.7)])
R(decoder_4x1_with_pmos_sw, met1, [(-0.09,0.01,1.44,1.52), (-0.04,2.52,1.49,3.97), (-0.05,6.02,1.56,7.25), (-0.03,9.56,1.66,11.1), (47.59,15.95,56.35,16.37), (50.335,17.97,57.135,18.54), (50.335,18.54,50.905,19.915), (63.1,19.115,63.57,19.555), (61.415,19.555,63.57,20.025), (41.685,19.915,50.905,20.485), (63.1,20.025,63.57,25.545), (55.36,21.75,55.99,22.96), (54.72,22.96,55.99,23.2), (50.485,23.2,56.115,23.83), (50.485,23.83,51.115,25.525), (41.685,25.525,51.115,26.155), (61.355,25.545,63.57,26.015), (63.1,26.015,63.57,30.47), (49.91,29.02,50.75,29.21), (49.91,29.21,56.24,29.63), (49.91,29.63,50.75,29.78), (64.94,30.46,65.6,30.47), (63.08,30.47,65.6,31.07), (51.94,30.49,55.7,30.91), (51.94,30.91,52.67,31.13), (63.1,31.07,63.57,34.095), (64.94,31.07,65.6,31.1), (41.735,31.325,43.925,31.895), (43.355,31.895,43.925,32.51), (43.355,32.51,57.515,33.08), (61.405,34.095,63.57,34.565), (63.1,34.565,63.57,39.67), (55.585,36.29,56.215,37.215), (41.675,37.215,56.215,37.845), (61.43,39.67,63.57,40.14), (43.165,41.12,56.935,41.69), (43.165,41.69,43.735,43.185), (41.745,43.185,43.735,43.755), (54.73,43.23,55.31,45.9), (-0.02,45.71,1.06,45.9), (-0.02,45.9,55.31,46.48), (-0.02,46.48,1.06,46.76), (-0.07,47.68,1.01,48.73), (-0.04,49.7,1.04,50.75), (-0.05,51.8,1.03,52.85)])
A(decoder_4x1_with_pmos_sw, via, 0.12, 0.21, 0.15, 0.15, 4, 4, 0.32, 0.32)
A(decoder_4x1_with_pmos_sw, via, 0.17, 2.69, 0.15, 0.15, 4, 4, 0.32, 0.32)
A(decoder_4x1_with_pmos_sw, via, 0.2, 6.08, 0.15, 0.15, 4, 4, 0.32, 0.32)
A(decoder_4x1_with_pmos_sw, via, 0.1, 9.615, 0.15, 0.15, 5, 5, 0.32, 0.32)
A(decoder_4x1_with_pmos_sw, via, 0.125, 45.84, 0.15, 0.15, 3, 3, 0.32, 0.32)
A(decoder_4x1_with_pmos_sw, via, 0.075, 47.81, 0.15, 0.15, 3, 3, 0.32, 0.32)
A(decoder_4x1_with_pmos_sw, via, 0.105, 49.83, 0.15, 0.15, 3, 3, 0.32, 0.32)
A(decoder_4x1_with_pmos_sw, via, 0.095, 51.93, 0.15, 0.15, 3, 3, 0.32, 0.32)
R(decoder_4x1_with_pmos_sw, via, [(47.775,16.085,47.925,16.235), (50.095,29.165,50.245,29.315), (50.415,29.165,50.565,29.315), (50.095,29.485,50.245,29.635), (50.415,29.485,50.565,29.635), (65.195,30.545,65.345,30.695), (52.07,30.575,52.22,30.725), (52.39,30.575,52.54,30.725), (65.195,30.865,65.345,31.015), (52.07,30.895,52.22,31.045), (52.39,30.895,52.54,31.045)])
R(decoder_4x1_with_pmos_sw, met2, [(-0.04,-0.04,1.39,1.57), (0.01,2.47,1.44,4.02), (0,5.97,1.51,7.3), (0.02,9.51,1.61,11.15), (47.64,15.9,48.06,16.42), (49.96,28.97,50.7,28.98), (49.89,28.98,50.7,29.83), (49.89,29.83,50.66,44.655), (64.99,30.41,65.55,31.15), (51.99,30.44,52.62,30.5), (51.94,30.5,52.63,47.835), (0.03,45.66,1.01,46.81), (-0.02,47.63,0.96,47.835), (-0.02,47.835,52.63,48.525), (-0.02,48.525,0.96,48.78), (0.01,49.65,0.99,49.76), (49.89,49.675,50.66,49.76), (0.01,49.76,50.66,50.52), (0.01,50.52,0.99,50.8), (49.89,50.52,50.66,50.545), (0,51.75,0.98,51.97), (47.58,51.9,48.12,51.97), (0,51.97,48.16,52.55), (0,52.55,0.98,52.9)])
R(decoder_4x1_with_pmos_sw, via2, [(47.75,16.06,47.95,16.26), (49.975,43.92,50.175,44.12), (50.375,43.92,50.575,44.12), (49.975,44.32,50.175,44.52), (50.375,44.32,50.575,44.52), (49.975,49.81,50.175,50.01), (50.375,49.81,50.575,50.01), (49.975,50.21,50.175,50.41), (50.375,50.21,50.575,50.41), (47.75,52.12,47.95,52.32)])
R(decoder_4x1_with_pmos_sw, met3, [(47.58,15.91,48.12,51.925), (49.84,43.81,50.71,44.63), (49.89,44.63,50.66,49.7), (49.84,49.7,50.71,50.52), (47.53,51.925,48.17,52.515)])
R(decoder_4x1_with_pmos_sw, hvi, [(42.05,23.69,55.76,24.02), (42.3,24.02,55.76,25.29), (42.3,25.29,43.65,25.6), (42.28,25.6,43.65,27.63), (42.24,35.71,55.81,36.12), (61.78,35.71,62.18,36.43), (42.27,36.12,55.81,36.43), (42.27,36.43,62.18,37.77), (42.27,37.77,55.82,39.35), (61.79,37.77,62.18,39.35)])
decoder_4x1_with_pmos_sw.add(gdstk.Reference(decoder_d1_g5d10_10_07, (24.13,10.05)))
decoder_4x1_with_pmos_sw.add(gdstk.Reference(v_sel_g5d10_w0p840_l0p5_, (55.8,17.97)))
decoder_4x1_with_pmos_sw.add(gdstk.Reference(v_sel_g5d10_w0p840_l0p5_, (55.74,27.61), x_reflection=True))
decoder_4x1_with_pmos_sw.add(gdstk.Reference(v_sel_g5d10_w0p840_l0p5_, (55.79,32.51)))
decoder_4x1_with_pmos_sw.add(gdstk.Reference(v_sel_g5d10_w0p840_l0p5_, (55.8,41.69), x_reflection=True))
decoder_4x1_with_pmos_sw.add(gdstk.Label('IN1', (0.73,0.84), layer=69, texttype=16))
decoder_4x1_with_pmos_sw.add(gdstk.Label('IN0', (0.79,3.34), layer=69, texttype=16))
decoder_4x1_with_pmos_sw.add(gdstk.Label('VDD', (0.69,6.74), layer=69, texttype=16))
decoder_4x1_with_pmos_sw.add(gdstk.Label('VSS', (0.76,10.39), layer=69, texttype=16))
decoder_4x1_with_pmos_sw.add(gdstk.Label('V1', (0.51,46.28), layer=69, texttype=16))
decoder_4x1_with_pmos_sw.add(gdstk.Label('V2', (0.31,48.33), layer=69, texttype=16))
decoder_4x1_with_pmos_sw.add(gdstk.Label('V3', (0.49,50.14), layer=69, texttype=16))
decoder_4x1_with_pmos_sw.add(gdstk.Label('V4', (0.55,52.31), layer=69, texttype=16))
decoder_4x1_with_pmos_sw.add(gdstk.Label('OUT', (65.21,30.82), layer=69, texttype=16))

lib.write_gds('decoder_4x1_with_pmos_switch_LV_support_11_07_layout.gds')
